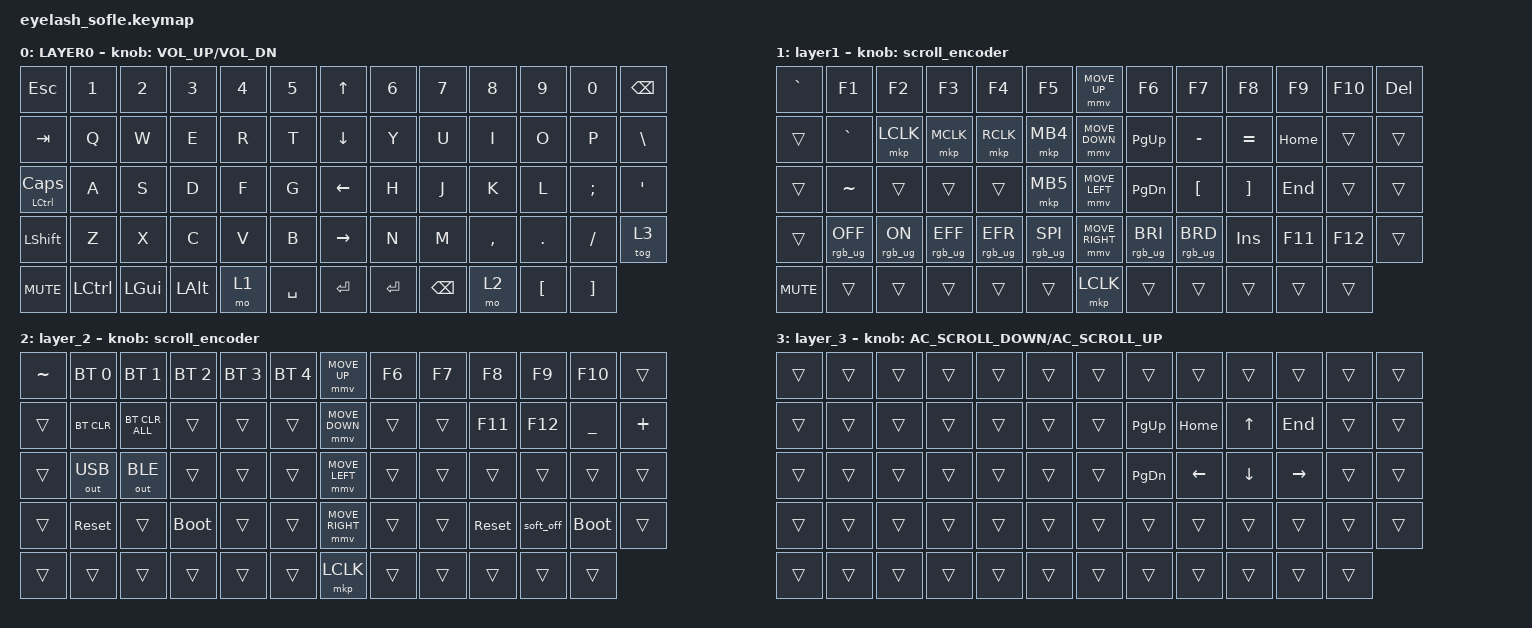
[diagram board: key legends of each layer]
#define ZMK_POINTING_DEFAULT_MOVE_VAL 1200  // 600
#define ZMK_POINTING_DEFAULT_SCRL_VAL 25   // 10

#include <input/processors.dtsi>
#include <zephyr/dt-bindings/input/input-event-codes.h>
#include <behaviors.dtsi>
#include <dt-bindings/zmk/bt.h>
#include <dt-bindings/zmk/keys.h>
#include <dt-bindings/zmk/outputs.h>
#include <dt-bindings/zmk/pointing.h>
#include <dt-bindings/zmk/rgb.h>

&mmv_input_listener { input-processors = <&zip_xy_scaler 2 1>; };

&msc_input_listener { input-processors = <&zip_scroll_scaler 2 1>; };

&msc {
    acceleration-exponent = <1>;      // 0
    time-to-max-speed-ms = <100>;       // 300
    delay-ms = <0>;                   // 0
};

&mmv {
    time-to-max-speed-ms = <500>;
    acceleration-exponent = <1>;
    trigger-period-ms = <16>;
};

/ {
    scroll_encoder: scroll_encoder {
        compatible = "zmk,behavior-sensor-rotate";
        #sensor-binding-cells = <0>;
        bindings = <&msc SCRL_DOWN>, <&msc SCRL_UP>;

        tap-ms = <100>;
    };

    behaviors {
    };

    combos {
        compatible = "zmk,combos";

        cb_less_than {
            bindings = <&kp LESS_THAN>;
            key-positions = <15 16>;
            timeout-ms = <50>;
            require-prior-idle-ms = <30>;
            layers = <0>;
        };

        cb_left_bracket {
            bindings = <&kp LEFT_BRACKET>;
            key-positions = <17 16>;
            timeout-ms = <50>;
            require-prior-idle-ms = <30>;
            layers = <0>;
        };

        cb_underscore {
            bindings = <&kp UNDERSCORE>;
            key-positions = <17 18>;
            timeout-ms = <50>;
            require-prior-idle-ms = <30>;
            layers = <0>;
        };

        cb_tilde {
            bindings = <&kp TILDE>;
            key-positions = <27 28>;
            timeout-ms = <50>;
            require-prior-idle-ms = <30>;
            layers = <0>;
        };

        cb_grave {
            bindings = <&kp GRAVE>;
            key-positions = <28 29>;
            timeout-ms = <50>;
            require-prior-idle-ms = <30>;
            layers = <0>;
        };

        cb_left_parentheses {
            bindings = <&kp LEFT_PARENTHESIS>;
            key-positions = <29 30>;
            timeout-ms = <50>;
            require-prior-idle-ms = <30>;
            layers = <0>;
        };

        cb_hash {
            bindings = <&kp HASH>;
            key-positions = <30 31>;
            timeout-ms = <50>;
            require-prior-idle-ms = <30>;
            layers = <0>;
        };

        cb_left_brace {
            bindings = <&kp LEFT_BRACE>;
            key-positions = <42 43>;
            timeout-ms = <50>;
            require-prior-idle-ms = <30>;
            layers = <0>;
        };

        cb_percentage {
            bindings = <&kp PERCENT>;
            key-positions = <44 43>;
            timeout-ms = <50>;
            require-prior-idle-ms = <30>;
            layers = <0>;
        };

        cb_excl {
            bindings = <&kp EXCLAMATION>;
            key-positions = <20 21>;
            timeout-ms = <50>;
            require-prior-idle-ms = <30>;
            layers = <0>;
        };

        cb_right_bracket {
            bindings = <&kp RIGHT_BRACKET>;
            key-positions = <21 22>;
            layers = <0>;
            timeout-ms = <50>;
            require-prior-idle-ms = <30>;
        };

        cb_right_greater {
            bindings = <&kp GREATER_THAN>;
            key-positions = <22 23>;
            timeout-ms = <50>;
            require-prior-idle-ms = <30>;
        };

        cb_at {
            bindings = <&kp AT_SIGN>;
            key-positions = <33 34>;
            timeout-ms = <50>;
            require-prior-idle-ms = <30>;
            layers = <0>;
        };

        cb_right_parentheses {
            bindings = <&kp RIGHT_PARENTHESIS>;
            key-positions = <34 35>;
            timeout-ms = <50>;
            require-prior-idle-ms = <30>;
            layers = <0>;
        };

        cb_caret {
            bindings = <&kp CARET>;
            key-positions = <46 47>;
            timeout-ms = <50>;
            require-prior-idle-ms = <30>;
        };

        cb_right_brace {
            bindings = <&kp RIGHT_BRACE>;
            key-positions = <47 48>;
            layers = <0>;
            timeout-ms = <50>;
            require-prior-idle-ms = <30>;
        };

        cb_plus {
            bindings = <&kp PLUS>;
            key-positions = <17 21>;
            timeout-ms = <50>;
            require-prior-idle-ms = <30>;
            layers = <0>;
        };

        cb_equal {
            bindings = <&kp EQUAL>;
            key-positions = <30 34>;
            timeout-ms = <50>;
            require-prior-idle-ms = <30>;
            layers = <0>;
        };

        cb_minus {
            bindings = <&kp MINUS>;
            key-positions = <43 47>;
            timeout-ms = <50>;
            require-prior-idle-ms = <30>;
            layers = <0>;
        };

        cb_asterisk {
            bindings = <&kp ASTERISK>;
            key-positions = <16 22>;
            timeout-ms = <50>;
            require-prior-idle-ms = <30>;
            layers = <0>;
        };

        cb_ampersand {
            bindings = <&kp AMPERSAND>;
            key-positions = <29 35>;
            timeout-ms = <50>;
            require-prior-idle-ms = <30>;
        };

        cb_dollar {
            bindings = <&kp DOLLAR>;
            key-positions = <28 36>;
            timeout-ms = <50>;
            require-prior-idle-ms = <30>;
            layers = <0>;
        };
    };

    keymap {
        compatible = "zmk,keymap";

        Qwerty {
            bindings = <
&kp ESC                &kp N1     &kp N2        &kp N3        &kp N4  &kp N5       &kp UP_ARROW     &kp N6      &kp N7         &kp N8     &kp N9            &kp N0             &kp BACKSPACE
&kp TAB                &kp Q      &kp W         &kp E         &kp R   &kp T        &kp DOWN_ARROW   &kp Y       &kp U          &kp I      &kp O             &kp P              &kp BSLH
&mt LEFT_CONTROL CAPS  &kp A      &kp S         &kp D         &kp F   &kp G        &kp LEFT_ARROW   &kp H       &kp J          &kp K      &kp L             &kp SEMI           &kp APOS
&kp LSHFT              &kp Z      &kp X         &kp C         &kp V   &kp B        &kp RIGHT_ARROW  &kp N       &kp M          &kp COMMA  &kp DOT           &kp FSLH           &tog 3
&kp C_MUTE             &kp LCTRL  &kp LEFT_GUI  &kp LEFT_ALT  &mo 1   &kp SPACE    &kp ENTER        &kp RETURN  &kp BACKSPACE  &mo 2      &kp LEFT_BRACKET  &kp RIGHT_BRACKET
            >;

            sensor-bindings = <&inc_dec_kp C_VOLUME_UP C_VOL_DN>;
            display-name = "LAYER0";
        };

        layer_1 {
            bindings = <
&kp GRAVE   &kp F1           &kp F2          &kp F3           &kp F4           &kp F5             &mmv MOVE_UP     &kp F6           &kp F7            &kp F8             &kp F9    &kp F10  &kp DEL
&trans      &kp GRAVE        &mkp LCLK       &mkp MCLK        &mkp RCLK        &mkp MB4           &mmv MOVE_DOWN   &kp PG_UP        &kp MINUS         &kp EQUAL          &kp HOME  &trans   &trans
&trans      &kp TILDE        &trans          &trans           &trans           &mkp MB5           &mmv MOVE_LEFT   &kp PG_DN        &kp LEFT_BRACKET  &kp RIGHT_BRACKET  &kp END   &trans   &trans
&trans      &rgb_ug RGB_OFF  &rgb_ug RGB_ON  &rgb_ug RGB_EFF  &rgb_ug RGB_EFR  &rgb_ug RGB_SPI    &mmv MOVE_RIGHT  &rgb_ug RGB_BRI  &rgb_ug RGB_BRD   &kp INSERT         &kp F11   &kp F12  &trans
&kp C_MUTE  &trans           &trans          &trans           &trans           &trans             &mkp LCLK        &trans           &trans            &trans             &trans    &trans
            >;

            display-name = "layer1";
            sensor-bindings = <&scroll_encoder>;
        };

        layer_2 {
            bindings = <
&kp TILDE  &bt BT_SEL 0  &bt BT_SEL 1    &bt BT_SEL 2  &bt BT_SEL 3  &bt BT_SEL 4    &mmv MOVE_UP     &kp F6  &kp F7  &kp F8      &kp F9     &kp F10      &trans
&trans     &bt BT_CLR    &bt BT_CLR_ALL  &trans        &trans        &trans          &mmv MOVE_DOWN   &trans  &trans  &kp F11     &kp F12    &kp UNDER    &kp PLUS
&trans     &out OUT_USB  &out OUT_BLE    &trans        &trans        &trans          &mmv MOVE_LEFT   &trans  &trans  &trans      &trans     &trans       &trans
&trans     &sys_reset    &trans          &bootloader   &trans        &trans          &mmv MOVE_RIGHT  &trans  &trans  &sys_reset  &soft_off  &bootloader  &trans
&trans     &trans        &trans          &trans        &trans        &trans          &mkp LCLK        &trans  &trans  &trans      &trans     &trans
            >;

            sensor-bindings = <&scroll_encoder>;
        };

        layer_3 {
            bindings = <
&trans  &trans  &trans  &trans  &trans  &trans    &trans  &trans         &trans          &trans          &trans           &trans  &trans
&trans  &trans  &trans  &trans  &trans  &trans    &trans  &kp PAGE_UP    &kp HOME        &kp UP          &kp END          &trans  &trans
&trans  &trans  &trans  &trans  &trans  &trans    &trans  &kp PAGE_DOWN  &kp LEFT_ARROW  &kp DOWN_ARROW  &kp RIGHT_ARROW  &trans  &trans
&trans  &trans  &trans  &trans  &trans  &trans    &trans  &trans         &trans          &trans          &trans           &trans  &trans
&trans  &trans  &trans  &trans  &trans  &trans    &trans  &trans         &trans          &trans          &trans           &trans
            >;

            sensor-bindings = <&inc_dec_kp C_AC_SCROLL_DOWN C_AC_SCROLL_UP>;
        };
    };
};
